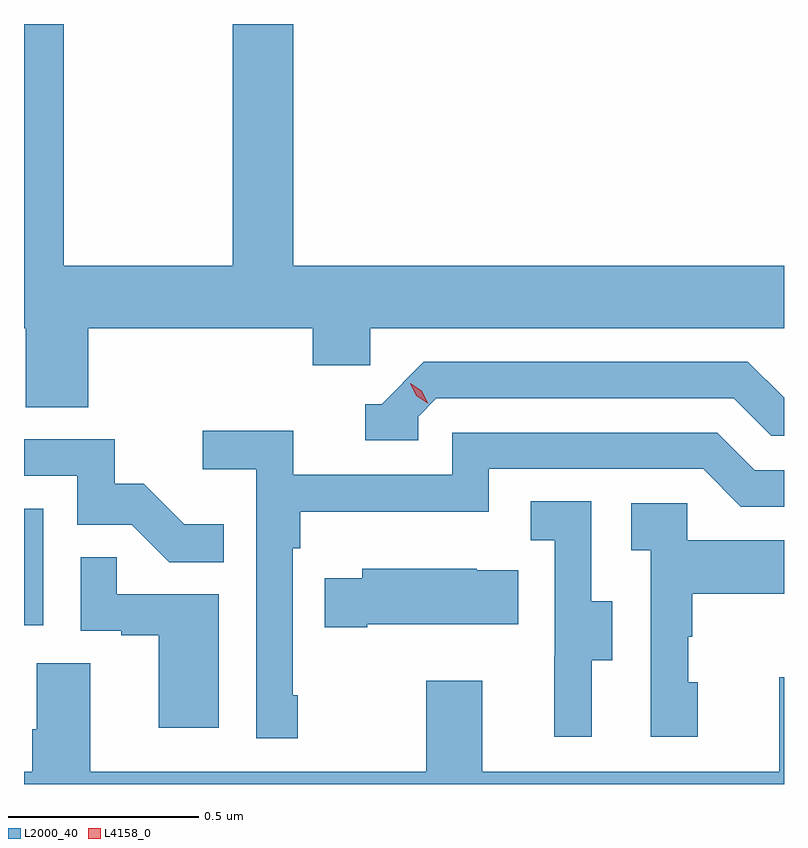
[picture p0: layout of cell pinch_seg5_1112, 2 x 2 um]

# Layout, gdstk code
import gdstk
lib = gdstk.Library(unit=1e-6, precision=1e-09)
def R(c, l, rs):  # rectangles x0, y0, x1, y1
    for r in rs: c.add(gdstk.rectangle(r[:2], r[2:], *l))
def P(c, l, *ps):  # polygons
    for p in ps: c.add(gdstk.Polygon(p, *l))
L2000_40 = (2000, 40)
L4158_0 = (4158, 0)

pinch_seg5_1112 = lib.new_cell('pinch_seg5_1112')
R(pinch_seg5_1112, L2000_40, [(861.181,854.646,861.232,854.953)])
P(pinch_seg5_1112, L2000_40, [(861.35,855.428),(861.941,855.428),(861.941,855.33),(862.092,855.33),(862.092,855.428),(863.181,855.428),(863.181,855.592),(861.89,855.592),(861.89,856.228),(861.73,856.228),(861.73,855.592),(861.285,855.592),(861.285,856.228),(861.181,856.228),(861.181,855.428),(861.185,855.428),(861.185,855.22),(861.35,855.22)],
  [(862.218,855.195),(862.266,855.243),(863.049,855.243),(863.148,855.144),(863.181,855.144),(863.181,855.244),(863.086,855.339),(862.233,855.339),(862.122,855.228),(862.079,855.228),(862.079,855.132),(862.218,855.132)],
  [(861.901,854.461),(861.888,854.461),(861.888,854.849),(861.908,854.849),(861.908,854.945),(862.404,854.945),(862.404,855.057),(862.968,855.057),(863.067,854.958),(863.181,854.958),(863.181,855.054),(863.104,855.054),(863.005,855.153),(862.308,855.153),(862.308,855.042),(861.89,855.042),(861.89,855.158),(861.651,855.158),(861.651,855.056),(861.792,855.056),(861.792,854.349),(861.901,854.349)],
  [(861.707,854.911),(861.603,854.911),(861.496,855.018),(861.42,855.018),(861.42,855.135),(861.181,855.135),(861.181,855.039),(861.321,855.039),(861.321,854.91),(861.465,854.91),(861.563,854.812),(861.707,854.812)],
  [(862.675,854.554),(862.729,854.554),(862.729,854.709),(862.674,854.709),(862.674,854.972),(862.515,854.972),(862.515,854.869),(862.578,854.869),(862.578,854.565),(862.577,854.565),(862.577,854.352),(862.675,854.352)],
  [(862.954,854.496),(862.929,854.496),(862.929,854.615),(862.939,854.615),(862.939,854.729),(863.181,854.729),(863.181,854.869),(862.926,854.869),(862.926,854.967),(862.779,854.967),(862.779,854.843),(862.83,854.843),(862.83,854.352),(862.954,854.352)],
  [(861.694,854.727),(861.425,854.727),(861.425,854.825),(861.33,854.825),(861.33,854.631),(861.437,854.631),(861.437,854.619),(861.536,854.619),(861.536,854.376),(861.694,854.376)],
  [(862.084,854.648),(862.481,854.648),(862.481,854.791),(862.373,854.791),(862.373,854.794),(862.071,854.794),(862.071,854.77),(861.973,854.77),(861.973,854.641),(862.084,854.641)],
  [(863.181,854.509),(863.168,854.509),(863.168,854.26),(862.387,854.26),(862.387,854.5),(862.24,854.5),(862.24,854.26),(861.355,854.26),(861.355,854.546),(861.215,854.546),(861.215,854.372),(861.203,854.372),(861.203,854.26),(861.181,854.26),(861.181,854.228),(863.181,854.228)])
P(pinch_seg5_1112, L4158_0, [(862.243,855.23),(862.213,855.25),(862.197,855.283),(862.197,855.283),(862.197,855.283),(862.228,855.263),(862.244,855.231),(862.244,855.23)])

lib.write_gds('pinch_seg5_1112.gds')
